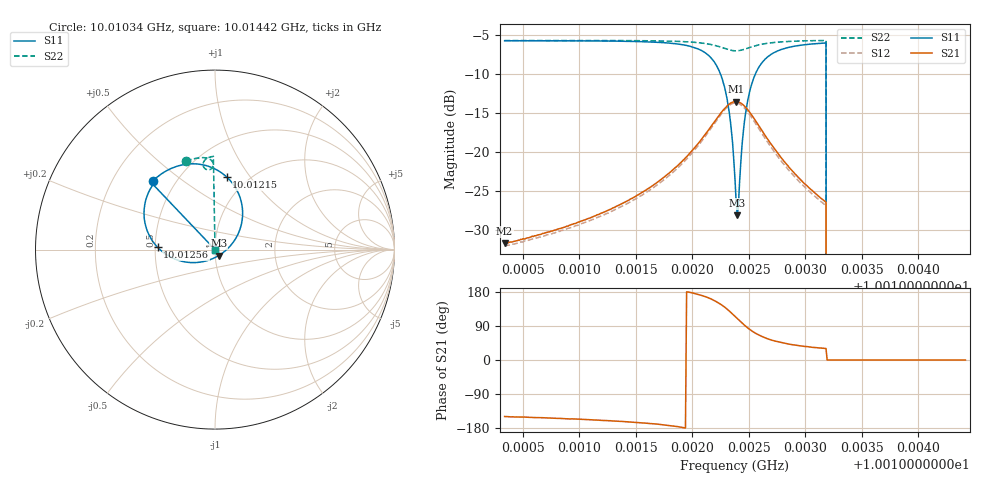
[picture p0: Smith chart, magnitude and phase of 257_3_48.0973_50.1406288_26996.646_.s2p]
#  HZ  S  RI  R  50.00
! Rohde & Schwarz Vector Network Analyzer
! Rohde-Schwarz,ZNB20-2Port,1311601062101988,3.16
! Created: UTC 12/23/2023, 4:00:23 AM
! freq[Hz]  re:S11  im:S11  re:S21  im:S21  re:S12  im:S12  re:S22  im:S22
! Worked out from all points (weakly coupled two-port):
!   401 points, 10.01034 GHz to 10.01442 GHz, reference 50 ohm
!   highest |S21| = -13.53 dB at 10.01239 GHz (marker M1); lowest = -31.8 dB at 10.01034 GHz (marker M2)
!   lowest |S11| = -28.1 dB at 10.0124 GHz (marker M3), VSWR 1.08, Z = 52.1 - j3.43 ohm
!   |S11| at or under -10 dB: 10.01225 GHz to 10.01256 GHz (308.9 kHz wide, 0.00308 % of centre); 10.01318 GHz to end of sweep
!   |S22| runs from - to -5.7 dB; largest |S21 - S12| = 0.0099
!   S11 on the Smith chart (normalised r, x): 10.01034 GHz: 0.37, +0.39; 10.01215 GHz: 0.80, +0.78; 10.01256 GHz: 0.51, +0.02; 10.01442 GHz: 1.00, +0.00
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1.0010339e10  -0.3468 0.3837  -0.0221 -0.0132  -0.0206 -0.0138  -0.1611 0.4936
1.0011022e10  -0.2904 0.4272  -0.0331 -0.0142  -0.0311 -0.0153  -0.1158 0.5063
1.0011704e10  -0.178 0.4728  -0.0639 -0.0115  -0.061 -0.0143  -0.063 0.5123
1.0012e10  -0.0536 0.4692  -0.102 0.00519  -0.0989 -0.000357  -0.0327 0.5058
1.0012153e10  0.0651 0.4048  -0.1352 0.0419  -0.1336 0.0336  -0.0149 0.4908
1.0012234e10  0.1331 0.3073  -0.1477 0.0855  -0.1487 0.0762  -0.00964 0.4748
1.0012296e10  0.1534 0.1848  -0.1419 0.1318  -0.1447 0.123  -0.013 0.459
1.0012336e10  0.1296 0.0888  -0.1222 0.1649  -0.1263 0.1567  -0.021 0.4499
1.0012377e10  0.0665 0.00115  -0.0893 0.1905  -0.0945 0.1833  -0.0332 0.4446
1.0012387e10  0.0444 -0.0174  -0.0792 0.1951  -0.0847 0.1879  -0.0365 0.4441
1.0012397e10  0.0212 -0.0329  -0.069 0.1984  -0.0741 0.1915  -0.04 0.4442
1.0012408e10  -0.0029 -0.046  -0.0588 0.2008  -0.0638 0.1941  -0.0431 0.4447
1.0012448e10  -0.1074 -0.0723  -0.0182 0.1999  -0.0227 0.1938  -0.0549 0.4503
1.0012479e10  -0.1816 -0.0658  0.00893 0.1904  0.00309 0.1846  -0.0613 0.4567
1.001252e10  -0.2629 -0.033  0.0363 0.1706  0.0301 0.1653  -0.0656 0.4672
1.001256e10  -0.3202 0.0132  0.0533 0.1483  0.0464 0.1442  -0.0663 0.4768
1.0012723e10  -0.3946 0.1815  0.0668 0.0813  0.0608 0.0796  -0.0531 0.5019
1.001306e10  -0.3616 0.3359  0.0471 0.0312  0.0432 0.0318  -0.0195 0.5174
1.0013162e10  -0.3479 0.3589  0.042 0.0249  0.0386 0.0257  -0.0107 0.5192
1.0013213e10  0 0  0 0  0 0  0 0
1.0013742e10  0 0  0 0  0 0  0 0
1.0014415e10  0 0  0 0  0 0  0 0
